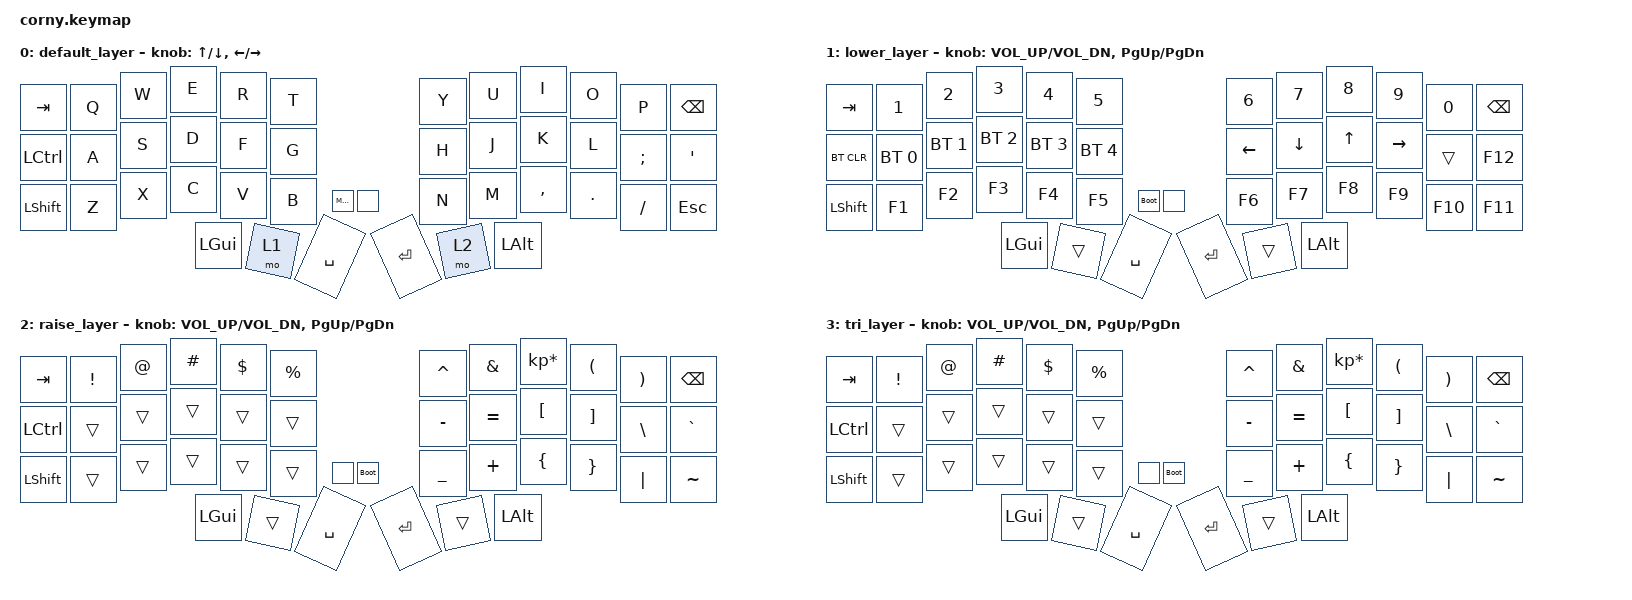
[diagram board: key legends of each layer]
#include <behaviors.dtsi>
#include <dt-bindings/zmk/keys.h>
#include <dt-bindings/zmk/bt.h>

/ {
        keymap {
                compatible = "zmk,keymap";

                default_layer {
// -------------------------------------------------------------------------------------------------
// |  TAB |  Q  |  W  |  E  |  R  |  T  |                    |  Y  |  U   |  I  |  O  |  P  | BKSP |
// | CTRL |  A  |  S  |  D  |  F  |  G  |                    |  H  |  J   |  K  |  L  |  ;  |  '   |
// | SHFT |  Z  |  X  |  C  |  V  |  B  |  MUTE  |  |        |  N  |  M   |  ,  |  .  |  /  | ESC  |
//                    | GUI | LWR | SPC |                    | ENT | RSE  | ALT |
                        bindings = <
   &kp TAB   &kp Q &kp W &kp E &kp R &kp T                   &kp Y &kp U  &kp I     &kp O   &kp P    &kp BSPC
   &kp LCTRL &kp A &kp S &kp D &kp F &kp G                   &kp H &kp J  &kp K     &kp L   &kp SEMI &kp SQT
   &kp LSHFT &kp Z &kp X &kp C &kp V &kp B &kp C_MUTE  &none &kp N &kp M  &kp COMMA &kp DOT &kp FSLH &kp ESC
                  &kp LGUI &mo 1 &kp SPACE                   &kp RET &mo 2 &kp LALT
                        >;

                        sensor-bindings = <&inc_dec_kp UP DOWN &inc_dec_kp LEFT RIGHT>;
                };
                lower_layer {
// ------------------------------------------------------------------------------------------------
// |  TAB |  1  |  2  |  3  |  4  |  5  |                    |  6  |  7  |  8  |  9  |  0  | BKSP |
// | BTCLR| BT1 | BT2 | BT3 | BT4 | BT5 |                    | LFT | DWN |  UP | RGT |     |  F12 |
// | SHFT | F1  | F2  | F3  | F4  | F5  |  boot  |  |        |  F6 | F7  | F8  | F9  | F10 |  F11 |
//                    | GUI |     | SPC |                    | ENT |     | ALT |
                        bindings = <
   &kp TAB    &kp N1       &kp N2       &kp N3       &kp N4       &kp N5                           &kp N6   &kp N7   &kp N8 &kp N9    &kp N0  &kp BSPC
   &bt BT_CLR &bt BT_SEL 0 &bt BT_SEL 1 &bt BT_SEL 2 &bt BT_SEL 3 &bt BT_SEL 4                     &kp LEFT &kp DOWN &kp UP &kp RIGHT &trans  &kp F12
   &kp LSHFT  &kp F1       &kp F2       &kp F3       &kp F4       &kp F5       &bootloader  &none  &kp F6   &kp F7   &kp F8 &kp F9    &kp F10 &kp F11
                                    &kp LGUI     &trans       &kp SPACE                            &kp RET  &trans   &kp LALT
                        >;

                        sensor-bindings = <&inc_dec_kp C_VOL_UP C_VOL_DN &inc_dec_kp PG_UP PG_DN>;
                };

                raise_layer {
// ------------------------------------------------------------------------------------------------
// |  TAB |  !  |  @  |  #  |  $  |  %  |                    |  ^  |  &  |  *  |  (  |  )  | BKSP |
// | CTRL |     |     |     |     |     |                    |  -  |  =  |  [  |  ]  |  \  |  `   |
// | SHFT |     |     |     |     |     |        |  |  boot  |  _  |  +  |  {  |  }  | "|" |  ~   |
//                    | GUI |     | SPC |                    | ENT |     | ALT |
                        bindings = <
   &kp  TAB  &kp EXCL &kp AT &kp HASH &kp DLLR &kp PRCNT                    &kp CARET &kp AMPS  &kp KP_MULTIPLY &kp LPAR &kp RPAR &kp BSPC
   &kp LCTRL &trans   &trans &trans   &trans   &trans                       &kp MINUS &kp EQUAL &kp LBKT        &kp RBKT &kp BSLH &kp GRAVE
   &kp LSHFT &trans   &trans &trans   &trans   &trans    &none  &bootloader &kp UNDER &kp PLUS  &kp LBRC        &kp RBRC &kp PIPE &kp TILDE
                             &kp LGUI &trans   &kp SPACE                    &kp RET   &trans    &kp LALT
                        >;

                        sensor-bindings = <&inc_dec_kp C_VOL_UP C_VOL_DN &inc_dec_kp PG_UP PG_DN>;
                };
              tri_layer {

                        bindings = <
   &kp  TAB  &kp EXCL &kp AT &kp HASH &kp DLLR &kp PRCNT                    &kp CARET &kp AMPS  &kp KP_MULTIPLY &kp LPAR &kp RPAR &kp BSPC
   &kp LCTRL &trans   &trans &trans   &trans   &trans                       &kp MINUS &kp EQUAL &kp LBKT        &kp RBKT &kp BSLH &kp GRAVE
   &kp LSHFT &trans   &trans &trans   &trans   &trans    &none  &bootloader &kp UNDER &kp PLUS  &kp LBRC        &kp RBRC &kp PIPE &kp TILDE
                             &kp LGUI &trans   &kp SPACE                    &kp RET   &trans    &kp LALT
                        >;

                        sensor-bindings = <&inc_dec_kp C_VOL_UP C_VOL_DN &inc_dec_kp PG_UP PG_DN>;
              };
        };
};
